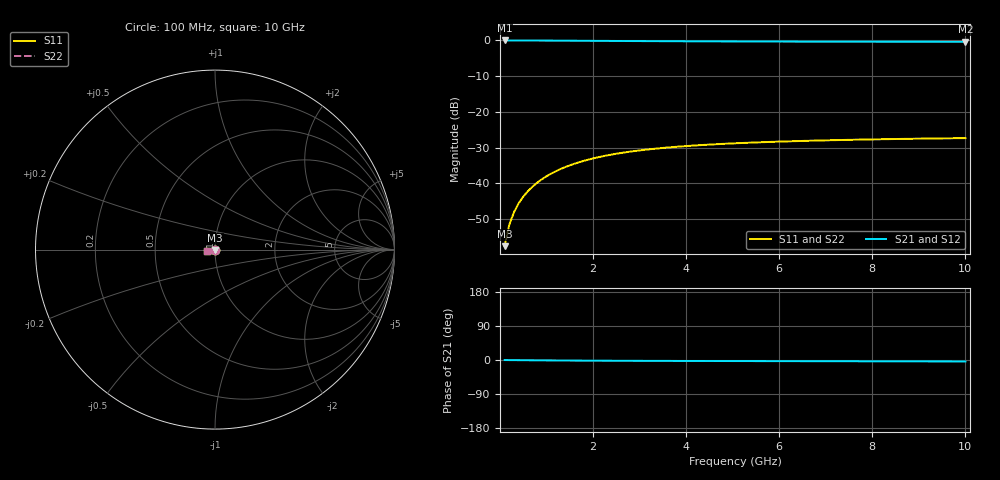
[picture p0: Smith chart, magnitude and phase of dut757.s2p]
! Touchstone file exported from HFSS 2024.1.0
!  File:  C:/UserFiles/LocalFiles/RDL_TSV_Batchsim/temp_TSV1_757_1779872004.aedt
!  Generated:  05:03:40 PM May 27, 2026
!  Design:  TSV1
!  Project:  temp_TSV1_757_1779872004
!  Setup:  Setup1
!  Solution:  Sweep
! Variables:
!  dtsv = 12.6um
!  hbump = 3um
!  htsv = 57.77um
!  lrdl = 252.1521522um
!  p = 40
!  p1 = 48.22um
!  t = 500um
!  trdl = 3um
!  wrdl = 24.89489489um
# GHz S MA R 50.000000
! Terminal data exported
! Port[1] = TSV22_T1
! Port[2] = TSV22_T2
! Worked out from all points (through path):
!   100 points, 100 MHz to 10 GHz, reference 50 ohm
!   highest |S21| = 0.00 dB at 100 MHz (marker M1); lowest = -0.4 dB at 10 GHz (marker M2)
!   lowest |S11| = -57.6 dB at 100 MHz (marker M3), VSWR 1.00, Z = 50 - j0.131 ohm
!   |S11| at or under -10 dB: start of sweep to end of sweep
!   |S22| runs from -57.6 to -27.4 dB; largest |S21 - S12| = 2.1e-15
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0.1  0.001315 -88.6  0.9999 -0.1  0.9999 -0.1  0.001315 -88.6
! Gamma 0 0 0 0
! Port Impedance 50 0 50 0
0.2  0.002622 -92.1  0.9997 -0.2  0.9997 -0.2  0.002622 -92.1
0.3  0.003923 -94.4  0.9995 -0.3  0.9995 -0.3  0.003923 -94.4
0.4  0.005212 -96.5  0.9992 -0.4  0.9992 -0.4  0.005212 -96.5
0.5  0.006486 -98.5  0.9988 -0.5  0.9988 -0.5  0.006486 -98.5
0.6  0.007742 -100.4  0.9984 -0.6  0.9984 -0.6  0.007742 -100.4
0.7  0.008977 -102.3  0.9978 -0.7  0.9978 -0.7  0.008977 -102.3
0.8  0.01019 -104.1  0.9972 -0.8  0.9972 -0.8  0.01019 -104.1
0.9  0.01137 -105.9  0.9966 -0.9  0.9966 -0.9  0.01137 -105.9
1.1  0.01365 -109.3  0.9952 -1.1  0.9952 -1.1  0.01365 -109.3
1.4  0.01683 -114.1  0.9928 -1.4  0.9928 -1.4  0.01683 -114.1
1.6  0.01877 -117.1  0.9911 -1.5  0.9911 -1.5  0.01877 -117.1
1.8  0.02058 -120.0  0.9894 -1.6  0.9894 -1.6  0.02058 -120.0
2.1  0.02305 -124.0  0.9869 -1.8  0.9869 -1.8  0.02305 -124.0
2.5  0.02589 -128.8  0.9836 -2.0  0.9836 -2.0  0.02589 -128.8
2.9  0.02829 -133.1  0.9806 -2.2  0.9806 -2.2  0.02829 -133.1
3.4  0.03078 -137.7  0.9772 -2.4  0.9772 -2.4  0.03078 -137.7
4.2  0.03385 -143.9  0.9726 -2.6  0.9726 -2.6  0.03385 -143.9
5.1  0.03639 -149.5  0.9685 -2.8  0.9685 -2.8  0.03639 -149.5
6.7  0.03945 -157.0  0.9633 -3.2  0.9633 -3.2  0.03945 -157.0
8.4  0.04155 -163.2  0.9597 -3.5  0.9597 -3.5  0.04155 -163.2
10  0.04288 -168.0  0.9574 -3.9  0.9574 -3.9  0.04288 -168.0
